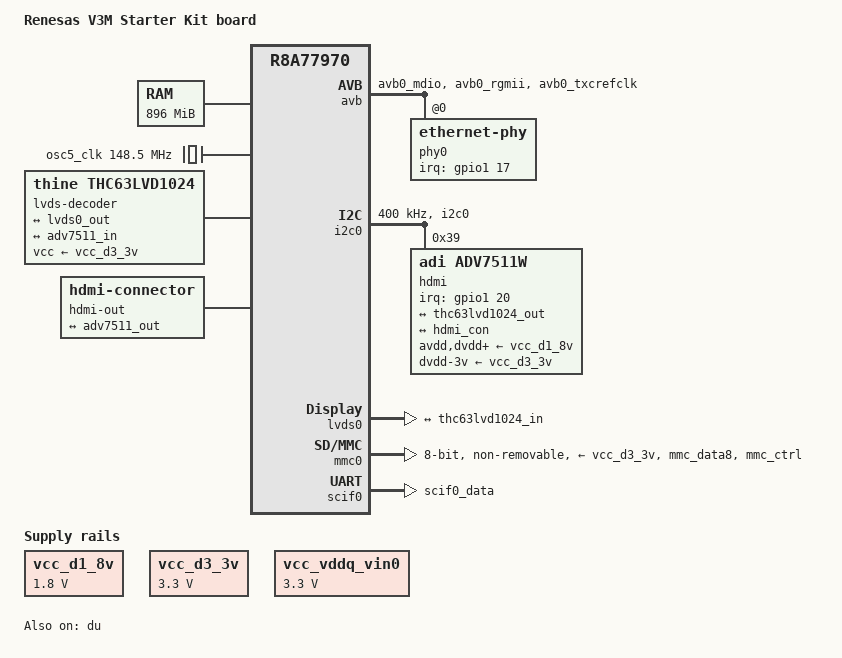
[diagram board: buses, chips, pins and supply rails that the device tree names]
// SPDX-License-Identifier: GPL-2.0
/*
 * Device Tree Source for the V3M Starter Kit board
 *
 * Copyright (C) 2017 Renesas Electronics Corp.
 * Copyright (C) 2017 Cogent Embedded, Inc.
 */

/dts-v1/;
#include "r8a77970.dtsi"

/ {
	model = "Renesas V3M Starter Kit board";
	compatible = "renesas,v3msk", "renesas,r8a77970";

	aliases {
		serial0 = &scif0;
	};

	chosen {
		stdout-path = "serial0:115200n8";
	};

	memory@48000000 {
		device_type = "memory";
		/* first 128MB is reserved for secure area. */
		reg = <0x0 0x48000000 0x0 0x38000000>;
	};

	osc5_clk: osc5-clock {
		compatible = "fixed-clock";
		#clock-cells = <0>;
		clock-frequency = <148500000>;
	};

	vcc_d1_8v: regulator-0 {
		compatible = "regulator-fixed";
		regulator-name = "VCC_D1.8V";
		regulator-min-microvolt = <1800000>;
		regulator-max-microvolt = <1800000>;
		regulator-boot-on;
		regulator-always-on;
	};

	vcc_d3_3v: regulator-1 {
		compatible = "regulator-fixed";
		regulator-name = "VCC_D3.3V";
		regulator-min-microvolt = <3300000>;
		regulator-max-microvolt = <3300000>;
		regulator-boot-on;
		regulator-always-on;
	};

	vcc_vddq_vin0: regulator-2 {
		compatible = "regulator-fixed";
		regulator-name = "VCC_VDDQ_VIN0";
		regulator-min-microvolt = <3300000>;
		regulator-max-microvolt = <3300000>;
		regulator-boot-on;
		regulator-always-on;
	};

	lvds-decoder {
		compatible = "thine,thc63lvd1024";
		vcc-supply = <&vcc_d3_3v>;

		ports {
			#address-cells = <1>;
			#size-cells = <0>;

			port@0 {
				reg = <0>;
				thc63lvd1024_in: endpoint {
					remote-endpoint = <&lvds0_out>;
				};
			};

			port@2 {
				reg = <2>;
				thc63lvd1024_out: endpoint {
					remote-endpoint = <&adv7511_in>;
				};
			};
		};
	};

	hdmi-out {
		compatible = "hdmi-connector";
		type = "a";

		port {
			hdmi_con: endpoint {
				remote-endpoint = <&adv7511_out>;
			};
		};
	};
};

&avb {
	pinctrl-0 = <&avb_pins>;
	pinctrl-names = "default";

	renesas,no-ether-link;
	phy-handle = <&phy0>;
	phy-mode = "rgmii-id";
	status = "okay";

	phy0: ethernet-phy@0 {
		rxc-skew-ps = <1500>;
		reg = <0>;
		interrupt-parent = <&gpio1>;
		interrupts = <17 IRQ_TYPE_LEVEL_LOW>;
	};
};

&du {
	clocks = <&cpg CPG_MOD 724>,
		 <&osc5_clk>;
	clock-names = "du.0", "dclkin.0";
	status = "okay";
};

&extal_clk {
	clock-frequency = <16666666>;
};

&extalr_clk {
	clock-frequency = <32768>;
};

&pfc {
	avb_pins: avb0 {
		groups = "avb0_mdio", "avb0_rgmii", "avb0_txcrefclk";
		function = "avb0";
	};

	i2c0_pins: i2c0 {
		groups = "i2c0";
		function = "i2c0";
	};

	mmc_pins: mmc_3_3v {
		groups = "mmc_data8", "mmc_ctrl";
		function = "mmc";
		power-source = <3300>;
	};

	scif0_pins: scif0 {
		groups = "scif0_data";
		function = "scif0";
	};
};

&i2c0 {
	pinctrl-0 = <&i2c0_pins>;
	pinctrl-names = "default";

	status = "okay";
	clock-frequency = <400000>;

	hdmi@39{
		compatible = "adi,adv7511w";
		#sound-dai-cells = <0>;
		reg = <0x39>;
		interrupt-parent = <&gpio1>;
		interrupts = <20 IRQ_TYPE_LEVEL_LOW>;
		avdd-supply = <&vcc_d1_8v>;
		dvdd-supply = <&vcc_d1_8v>;
		pvdd-supply = <&vcc_d1_8v>;
		bgvdd-supply = <&vcc_d1_8v>;
		dvdd-3v-supply = <&vcc_d3_3v>;

		adi,input-depth = <8>;
		adi,input-colorspace = "rgb";
		adi,input-clock = "1x";
		adi,input-style = <1>;
		adi,input-justification = "evenly";

		ports {
			#address-cells = <1>;
			#size-cells = <0>;

			port@0 {
				reg = <0>;
				adv7511_in: endpoint {
					remote-endpoint = <&thc63lvd1024_out>;
				};
			};

			port@1 {
				reg = <1>;
				adv7511_out: endpoint {
					remote-endpoint = <&hdmi_con>;
				};
			};
		};
	};
};

&lvds0 {
	status = "okay";

	ports {
		port@1 {
			lvds0_out: endpoint {
				remote-endpoint = <&thc63lvd1024_in>;
			};
		};
	};
};

&mmc0 {
	pinctrl-0 = <&mmc_pins>;
	pinctrl-names = "default";

	vmmc-supply = <&vcc_d3_3v>;
	vqmmc-supply = <&vcc_vddq_vin0>;
	bus-width = <8>;
	non-removable;
	status = "okay";
};

&scif0 {
	pinctrl-0 = <&scif0_pins>;
	pinctrl-names = "default";

	status = "okay";
};
